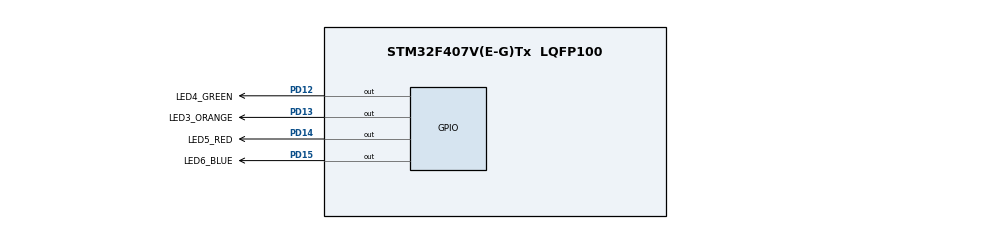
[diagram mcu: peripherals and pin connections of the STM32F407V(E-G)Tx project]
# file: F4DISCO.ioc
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Mcu.Family=STM32F4
Mcu.Name=STM32F407V(E-G)Tx
Mcu.Package=LQFP100
NVIC.PriorityGroup=NVIC_PRIORITYGROUP_4
PA13.GPIO_Label=SWDIO
PA13.Mode=Serial_Wire
PA13.Signal=SYS_JTMS-SWDIO
PA14.GPIO_Label=SWCLK
PA14.Mode=Serial_Wire
PA14.Signal=SYS_JTCK-SWCLK
PB3.GPIO_Label=SWO
PB3.Signal=SYS_JTDO-SWO
PD12.GPIO_Label=LED4_GREEN
PD12.Signal=GPIO_Output
PD13.GPIO_Label=LED3_ORANGE
PD13.Signal=GPIO_Output
PD14.GPIO_Label=LED5_RED
PD14.Signal=GPIO_Output
PD15.GPIO_Label=LED6_BLUE
PD15.Signal=GPIO_Output
PH0-OSC_IN.GPIO_Label=HSEI
PH0-OSC_IN.Mode=HSE-External-Oscillator
PH0-OSC_IN.Signal=RCC_OSC_IN
PH1-OSC_OUT.GPIO_Label=HSEO
PH1-OSC_OUT.Mode=HSE-External-Oscillator
PH1-OSC_OUT.Signal=RCC_OSC_OUT
ProjectManager.HeapSize=0x200
ProjectManager.StackSize=0x400
ProjectManager.TargetToolchain=CMake
RCC.48MHZClocksFreq_Value=48000000
RCC.AHBFreq_Value=8000000
RCC.APB1Freq_Value=8000000
RCC.APB1TimFreq_Value=8000000
RCC.APB2Freq_Value=8000000
RCC.APB2TimFreq_Value=8000000
RCC.CortexFreq_Value=8000000
RCC.HCLKFreq_Value=8000000
RCC.HSE_VALUE=8000000
RCC.HSI_VALUE=16000000
RCC.LSE_VALUE=32768
RCC.PLLN=384
RCC.PLLSourceVirtual=RCC_PLLSOURCE_HSE
RCC.SYSCLKFreq_VALUE=8000000
RCC.SYSCLKSource=RCC_SYSCLKSOURCE_HSE
RCC.VCOOutputFreq_Value=192000000
board=custom

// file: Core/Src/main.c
/* USER CODE BEGIN Header */
/**
  ******************************************************************************
  * @file           : main.c
  * @brief          : Main program body
  ******************************************************************************
  * @attention
  *
  * Copyright (c) 2024 STMicroelectronics.
  * All rights reserved.
  *
  * This software is licensed under terms that can be found in the LICENSE file
  * in the root directory of this software component.
  * If no LICENSE file comes with this software, it is provided AS-IS.
  *
  ******************************************************************************
  */
/* USER CODE END Header */
#include "main.h"

void SystemClock_Config(void);
static void MX_GPIO_Init(void);

/* USER CODE BEGIN 0 */

#include <stdbool.h>
uint16_t led = 0;

/* USER CODE END 0 */

int main(void)
{

  /* MCU Configuration--------------------------------------------------------*/

  /* Reset of all peripherals, Initializes the Flash interface and the Systick. */
  LL_APB2_GRP1_EnableClock(LL_APB2_GRP1_PERIPH_SYSCFG);
  LL_APB1_GRP1_EnableClock(LL_APB1_GRP1_PERIPH_PWR);

  /* System interrupt init*/
  NVIC_SetPriorityGrouping(NVIC_PRIORITYGROUP_4);

  /* SysTick_IRQn interrupt configuration */
  NVIC_SetPriority(SysTick_IRQn, NVIC_EncodePriority(NVIC_GetPriorityGrouping(),15, 0));

  /* Configure the system clock */
  SystemClock_Config();

  /* Initialize all configured peripherals */
  MX_GPIO_Init();

  /* Infinite loop */
  /* USER CODE BEGIN WHILE */
  while (1) {
      led++;
      LL_GPIO_ResetOutputPin(GPIOD, LED4_GREEN_Pin | LED3_ORANGE_Pin |
                                        LED5_RED_Pin | LED6_BLUE_Pin);
      switch ((led >> 14) & 0b11) {
          case 0:
              LL_GPIO_SetOutputPin(LED4_GREEN_GPIO_Port, LED4_GREEN_Pin);
              break;
          case 1:
              LL_GPIO_SetOutputPin(LED3_ORANGE_GPIO_Port, LED3_ORANGE_Pin);
              break;
          case 2:
              LL_GPIO_SetOutputPin(LED5_RED_GPIO_Port, LED5_RED_Pin);
              break;
          case 3:
              LL_GPIO_SetOutputPin(LED6_BLUE_GPIO_Port, LED6_BLUE_Pin);
              break;
      }
    /* USER CODE END WHILE */

  }
}

void SystemClock_Config(void)
{
  LL_FLASH_SetLatency(LL_FLASH_LATENCY_0);
  while(LL_FLASH_GetLatency()!= LL_FLASH_LATENCY_0)
  {
  }
  LL_PWR_SetRegulVoltageScaling(LL_PWR_REGU_VOLTAGE_SCALE1);
  LL_RCC_HSE_Enable();

   /* Wait till HSE is ready */
  while(LL_RCC_HSE_IsReady() != 1)
  {

  }
  LL_RCC_SetAHBPrescaler(LL_RCC_SYSCLK_DIV_1);
  LL_RCC_SetAPB1Prescaler(LL_RCC_APB1_DIV_1);
  LL_RCC_SetAPB2Prescaler(LL_RCC_APB2_DIV_1);
  LL_RCC_SetSysClkSource(LL_RCC_SYS_CLKSOURCE_HSE);

   /* Wait till System clock is ready */
  while(LL_RCC_GetSysClkSource() != LL_RCC_SYS_CLKSOURCE_STATUS_HSE)
  {

  }
  LL_Init1msTick(8000000);
  LL_SetSystemCoreClock(8000000);
}

static void MX_GPIO_Init(void)
{
  LL_GPIO_InitTypeDef GPIO_InitStruct = {0};

  /* GPIO Ports Clock Enable */
  LL_AHB1_GRP1_EnableClock(LL_AHB1_GRP1_PERIPH_GPIOH);
  LL_AHB1_GRP1_EnableClock(LL_AHB1_GRP1_PERIPH_GPIOD);
  LL_AHB1_GRP1_EnableClock(LL_AHB1_GRP1_PERIPH_GPIOA);
  LL_AHB1_GRP1_EnableClock(LL_AHB1_GRP1_PERIPH_GPIOB);

  /**/
  LL_GPIO_ResetOutputPin(GPIOD, LED4_GREEN_Pin|LED3_ORANGE_Pin|LED5_RED_Pin|LED6_BLUE_Pin);

  /**/
  GPIO_InitStruct.Pin = LED4_GREEN_Pin|LED3_ORANGE_Pin|LED5_RED_Pin|LED6_BLUE_Pin;
  GPIO_InitStruct.Mode = LL_GPIO_MODE_OUTPUT;
  GPIO_InitStruct.Speed = LL_GPIO_SPEED_FREQ_LOW;
  GPIO_InitStruct.OutputType = LL_GPIO_OUTPUT_PUSHPULL;
  GPIO_InitStruct.Pull = LL_GPIO_PULL_NO;
  LL_GPIO_Init(GPIOD, &GPIO_InitStruct);

}

void Error_Handler(void)
{
  __disable_irq();
  while (1)
  {
  }
}
